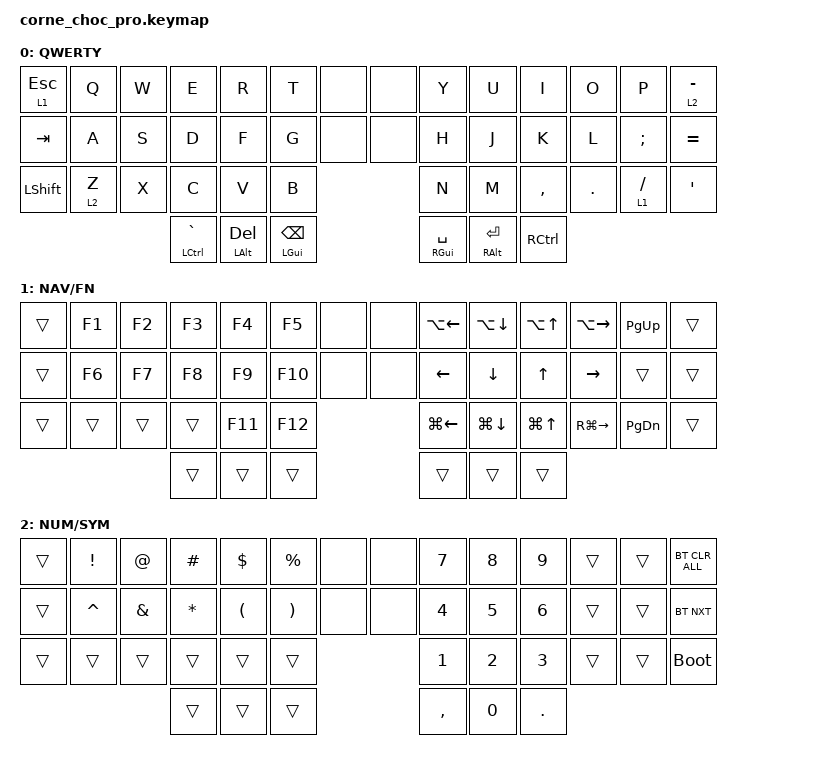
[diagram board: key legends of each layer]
/*
 * Copyright (c) 2020 The ZMK Contributors
 *
 * SPDX-License-Identifier: MIT
 */

#include <behaviors.dtsi>
#include <dt-bindings/zmk/bt.h>
#include <dt-bindings/zmk/keys.h>

/ {
    chosen { zmk,physical-layout = &default_layout; };
};

/ {
    behaviors {
        hm: hold_mod {
            compatible = "zmk,behavior-hold-tap";
            #binding-cells = <2>;
            flavor = "balanced";
            tapping-term-ms = <150>;
            quick-tap-ms = <125>;
            require-prior-idle-ms = <100>;
            bindings = <&kp>, <&kp>;
        };

        hm_yeet: hold_mod_yeet {
            compatible = "zmk,behavior-hold-tap";
            #binding-cells = <2>;
            flavor = "balanced";
            tapping-term-ms = <200>;
            quick-tap-ms = <175>;
            hold-while-undecided;
            bindings = <&kp>, <&kp>;
        };

        lt_hp: layer_hold_tap {
            compatible = "zmk,behavior-hold-tap";
            #binding-cells = <2>;
            flavor = "balanced";
            tapping-term-ms = <150>;
            quick-tap-ms = <125>;
            require-prior-idle-ms = <105>;
            bindings = <&mo>, <&kp>;
        };
    };

    combos {
        compatible = "zmk,combos";

        combo_lparen {
            bindings = <&kp LPAR>;
            key-positions = <4 5>;
            timeout-ms = <50>;
            layers = <0>;
        };

        combo_lbrace {
            bindings = <&kp LBRC>;
            key-positions = <18 19>;
            timeout-ms = <50>;
            layers = <0>;
        };

        combo_lbkt {
            bindings = <&kp LBKT>;
            key-positions = <32 33>;
            timeout-ms = <50>;
            layers = <0>;
        };

        combo_pipe {
            bindings = <&kp PIPE>;
            key-positions = <29 30>;
            timeout-ms = <50>;
            layers = <0>;
        };

        combo_rparen {
            bindings = <&kp RPAR>;
            key-positions = <8 9>;
            timeout-ms = <50>;
            layers = <0>;
        };

        combo_rbrace {
            bindings = <&kp RBRC>;
            key-positions = <22 23>;
            timeout-ms = <50>;
            layers = <0>;
        };

        combo_rbkt {
            bindings = <&kp RBKT>;
            key-positions = <34 35>;
            timeout-ms = <50>;
            layers = <0>;
        };

        combo_bslh {
            bindings = <&kp BSLH>;
            key-positions = <38 39>;
            timeout-ms = <50>;
            layers = <0>;
        };
    };

    keymap {
        compatible = "zmk,keymap";

        default_layer {
            display-name = "QWERTY";
            bindings = <
&lt_hp 1 ESC  &kp Q       &kp W  &kp E            &kp R         &kp T               &none  &none  &kp Y           &kp U         &kp I      &kp O    &kp P          &lt_hp 2 MINUS
&kp TAB       &kp A       &kp S  &kp D            &kp F         &kp G               &none  &none  &kp H           &kp J         &kp K      &kp L    &kp SEMI       &kp EQUAL
&kp LSHFT     &lt_hp 2 Z  &kp X  &kp C            &kp V         &kp B                             &kp N           &kp M         &kp COMMA  &kp DOT  &lt_hp 1 FSLH  &kp SQT
                                 &hm LCTRL GRAVE  &hm LALT DEL  &hm_yeet LGUI BSPC                &hm RGUI SPACE  &hm RALT RET  &kp RCTRL
            >;
        };

        lower_layer {
            display-name = "NAV/FN";
            bindings = <
&trans  &kp F1  &kp F2  &kp F3  &kp F4   &kp F5   &none  &none  &kp LA(LEFT)  &kp LA(DOWN)  &kp LA(UP_ARROW)  &kp LA(RIGHT)  &kp PG_UP      &trans
&trans  &kp F6  &kp F7  &kp F8  &kp F9   &kp F10  &none  &none  &kp LEFT      &kp DOWN      &kp UP            &kp RIGHT      &trans         &trans
&trans  &trans  &trans  &trans  &kp F11  &kp F12                &kp LG(LEFT)  &kp LG(DOWN)  &kp LG(UP_ARROW)  &kp RG(RIGHT)  &kp PAGE_DOWN  &trans
                        &trans  &trans   &trans                 &trans        &trans        &trans
            >;
        };

        raise_layer {
            display-name = "NUM/SYM";
            bindings = <
&trans  &kp EXCL   &kp AT    &kp HASH  &kp DLLR  &kp PRCNT  &none  &none  &kp N7     &kp N8  &kp N9      &trans  &trans  &bt BT_CLR_ALL
&trans  &kp CARET  &kp AMPS  &kp STAR  &kp LPAR  &kp RPAR   &none  &none  &kp N4     &kp N5  &kp N6      &trans  &trans  &bt BT_NXT
&trans  &trans     &trans    &trans    &trans    &trans                   &kp N1     &kp N2  &kp N3      &trans  &trans  &bootloader
                             &trans    &trans    &trans                   &kp COMMA  &kp N0  &kp PERIOD
            >;
        };
    };
};
